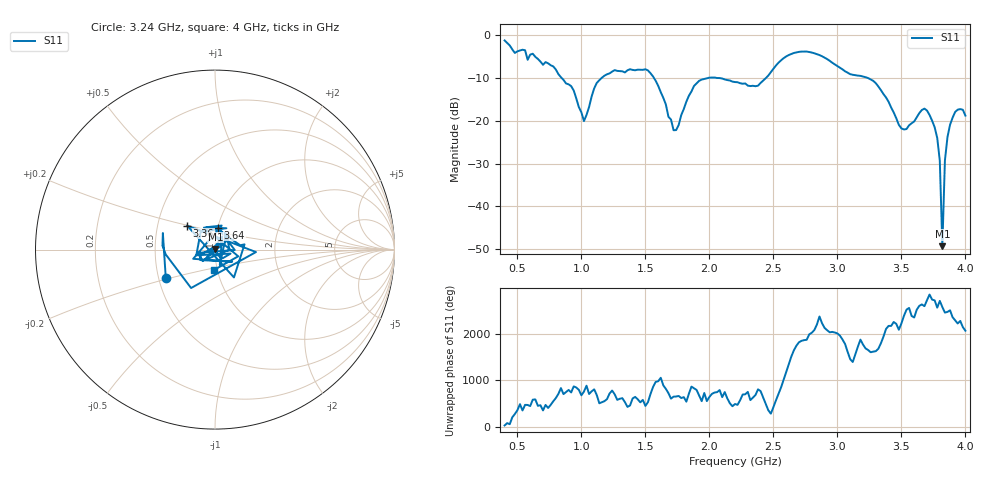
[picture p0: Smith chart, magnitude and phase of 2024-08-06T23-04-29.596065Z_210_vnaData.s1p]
!Created with skrf (http://scikit-rf.org).
# Hz S RI R 50.0
!freq ReS11 ImS11
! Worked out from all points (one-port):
!   181 points, 400 MHz to 4 GHz, reference 50 ohm
!   lowest |S11| = -49.3 dB at 3.82 GHz (marker M1), VSWR 1.01, Z = 50.2 + j0.284 ohm
!   |S11| at or under -10 dB: 1.567 GHz to 1.987 GHz (419.7 MHz wide, 23.6 % of centre); 2.081 GHz to 2.441 GHz (359.6 MHz wide, 15.9 % of centre); 3.24 GHz to end of sweep (the widest 3 of 4)
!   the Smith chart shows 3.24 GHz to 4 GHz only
!   S11 on the Smith chart (normalised r, x): 3.24 GHz: 0.55, -0.19; 3.36 GHz: 0.71, +0.20; 3.64 GHz: 1.00, +0.25; 4 GHz: 0.96, -0.22
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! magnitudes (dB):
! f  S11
! 400 MHz  -1.2
! 860 MHz  -10.4
! 940 MHz  -12.9
! 1.02 GHz  -20.1
! 1.12 GHz  -11.1
! 1.3 GHz  -8.4
! 1.52 GHz  -8.2
! 1.6 GHz  -11.8
! 1.72 GHz  -22.2
! 1.76 GHz  -21.0
! 1.92 GHz  -10.6
! 2.2 GHz  -10.9
! 2.38 GHz  -11.8
! 2.66 GHz  -4.1
! 3.1 GHz  -9.1
! 3.24 GHz  -10.0
! 3.36 GHz  -13.7
! 3.5 GHz  -21.8
! 3.56 GHz  -21.1
! 3.64 GHz  -18.2
! 3.7 GHz  -17.6
! 3.78 GHz  -24.0
! 3.8 GHz  -29.3
! 3.82 GHz  -49.3
! 3.84 GHz  -29.3
! 3.86 GHz  -23.8
! 3.92 GHz  -17.9
! 4 GHz  -18.8
